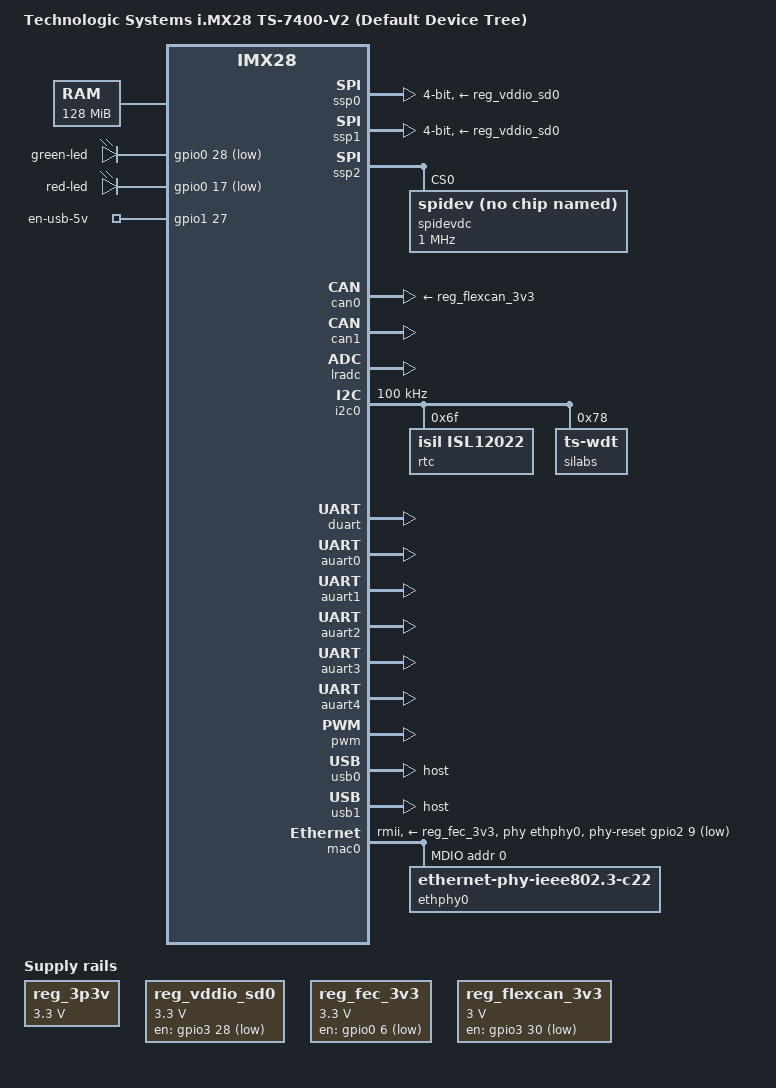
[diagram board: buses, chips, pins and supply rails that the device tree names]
/*
 * Copyright (C) 2018 Technologic Systems <support@embeddedarm.com>
 * Copyright (C) 2012 Marek Vasut <marex@denx.de>
 *
 * The code contained herein is licensed under the GNU General Public
 * License. You may obtain a copy of the GNU General Public License
 * Version 2 or later at the following locations:
 *
 * http://www.opensource.org/licenses/gpl-license.html
 * http://www.gnu.org/copyleft/gpl.html
 */

/dts-v1/;
#include "imx28.dtsi"
#include "dt-bindings/gpio/gpio.h"
#include <dt-bindings/interrupt-controller/irq.h>

/ {

	model = "Technologic Systems i.MX28 TS-7400-V2 (Default Device Tree)";
	compatible = "fsl,imx28-ts7400v2", "fsl,imx28";

	aliases {
		mmc0 = &ssp0;
		mmc2 = &ssp1;
		spi0 = &ssp2;
		i2c0 = &i2c0;
	};

	memory {
		reg = <0x40000000 0x08000000>;   /* 128MB */
	};

	leds {
		pinctrl-names = "default";
		pinctrl-0 = <&pinctrl_gpio_leds>;
		compatible = "gpio-leds";

		green-led {
			label = "green-led";
			gpios = <&gpio0 28 GPIO_ACTIVE_LOW>;
			default-state = "on";
		};

		red-led {
			label = "red-led";
			gpios = <&gpio0 17 GPIO_ACTIVE_LOW>;
			default-state = "off";
		};

		/* The following are meant to be userspace controlled IO. The
		 * kernel does not allow setting default state of GPIO, but
		 * the default state of LEDs can be set, which is why the LED
		 * subsystem is used.
		 */
		en-usb-5v {
			label = "en-usb-5v";
			gpios = <&gpio1 27 GPIO_ACTIVE_HIGH>;
			default-state = "on";
		};
	};


	apb@80000000 {
		apbh@80000000 {

			ssp0: ssp@80010000 {
				compatible = "fsl,imx28-mmc";
				pinctrl-names = "default";
				pinctrl-0 = <&mmc0_4bit_pins
					     &mmc0_sck_cfg /* in DTSI */
					     &en_sd_pwr>;
				broken-cd = <1>;
				bus-width = <4>;
				vmmc-supply = <&reg_vddio_sd0>;
				status = "okay";
			};

			ssp1: ssp@80012000 {
				compatible = "fsl,imx28-mmc";
				pinctrl-names = "default";
				pinctrl-0 = <&mmc1_4bit_pins
					     &mmc1_sck_cfg>; /* in DTSI */
				broken-cd = <1>;
				bus-width = <4>;
				vmmc-supply = <&reg_vddio_sd0>;
				status = "okay";
			};

			ssp2: ssp@80014000 {
				compatible = "fsl,imx28-spi";
				pinctrl-names = "default";
				pinctrl-0 = <&pinctrl_spi0>;
				status = "okay";

				/* NOTE: This is not the intended use of spidev
				 * anymore. Linux is slowly removing support
				 * for directly exposing spidev to userspace
				 * and is requiring drivers to directly connect
				 * to devices via the device tree. This will
				 * generate a warning, and there is still some
				 * basic interaction available, but support for
				 * some ioctls has already been removed it would
				 * appear.
				 */
				spidevdc: spi@0 {
					compatible = "spidev";
					reg = <0>;
					spi-max-frequency = <1000000>;
				};
			};

			pinctrl@80018000 {
				pinctrl-names = "default";
				pinctrl-0 = <&pinctrl_hog>;

				pinctrl_hog: hoggrp {
					reg = <0>;
					fsl,pinmux-ids = <
					>;
					fsl,drive-strength = <MXS_DRIVE_4mA>;
					fsl,voltage = <MXS_VOLTAGE_HIGH>;
					fsl,pull-up = <MXS_PULL_ENABLE>;
				};

				en_sd_pwr: en_sd_pwr {
					reg = <0>;
					fsl,pinmux-ids = <
					  MX28_PAD_PWM3__GPIO_3_28
					>;
					fsl,drive-strength = <MXS_DRIVE_4mA>;
					fsl,voltage = <MXS_VOLTAGE_HIGH>;
					fsl,pull-up = <MXS_PULL_DISABLE>;
				};

				mmc0_4bit_pins: mmc0-4bit@0 {
					reg = <0>;
					fsl,pinmux-ids = <
					  MX28_PAD_SSP0_DATA0__SSP0_D0
					  MX28_PAD_SSP0_DATA1__SSP0_D1
					  MX28_PAD_SSP0_DATA2__SSP0_D2
					  MX28_PAD_SSP0_DATA3__SSP0_D3
					  MX28_PAD_SSP0_CMD__SSP0_CMD
					>;
					fsl,drive-strength = <MXS_DRIVE_8mA>;
					fsl,voltage = <MXS_VOLTAGE_HIGH>;
					fsl,pull-up = <MXS_PULL_ENABLE>;
				};

				mmc1_4bit_pins: mmc1-4bit@0 {
					reg = <0>;
					fsl,pinmux-ids = <
					  MX28_PAD_GPMI_RDY1__SSP1_CMD
					  MX28_PAD_GPMI_D00__SSP1_D0
					  MX28_PAD_GPMI_D01__SSP1_D1
					  MX28_PAD_GPMI_D02__SSP1_D2
					  MX28_PAD_GPMI_D03__SSP1_D3
					>;
					fsl,drive-strength = <MXS_DRIVE_8mA>;
					fsl,voltage = <MXS_VOLTAGE_HIGH>;
					fsl,pull-up = <MXS_PULL_ENABLE>;
				};

				mac0_pins_ts7400v2: mac0@0 {
					reg = <0>;
					fsl,pinmux-ids = <
					   MX28_PAD_ENET0_MDC__ENET0_MDC
					   MX28_PAD_ENET0_MDIO__ENET0_MDIO
					   MX28_PAD_ENET0_RX_EN__ENET0_RX_EN
					   MX28_PAD_ENET0_RXD0__ENET0_RXD0
					   MX28_PAD_ENET0_RXD1__ENET0_RXD1
					   MX28_PAD_ENET0_TX_EN__ENET0_TX_EN
					   MX28_PAD_ENET0_TXD0__ENET0_TXD0
					   MX28_PAD_ENET0_TXD1__ENET0_TXD1
					   MX28_PAD_ENET_CLK__CLKCTRL_ENET
					   /* PHY reset */
					   MX28_PAD_SSP0_DETECT__GPIO_2_9
					   /* PHY power */
					   MX28_PAD_GPMI_D06__GPIO_0_6
					>;
					fsl,drive-strength = <MXS_DRIVE_8mA>;
					fsl,voltage = <MXS_VOLTAGE_HIGH>;
					fsl,pull-up = <MXS_PULL_ENABLE>;
				};

				auart4_2pins: auart4@0 {
					reg = <0>;
					fsl,pinmux-ids = <
					  MX28_PAD_SAIF0_BITCLK__AUART4_RX
					  MX28_PAD_SAIF0_SDATA0__AUART4_TX
					>;
					fsl,drive-strength = <MXS_DRIVE_4mA>;
					fsl,voltage = <MXS_VOLTAGE_HIGH>;
					fsl,pull-up = <MXS_PULL_DISABLE>;
				};

				pinctrl_spi0: spi@0 {
					reg = <0>;
					fsl,pinmux-ids = <
					  MX28_PAD_SSP0_DATA4__SSP2_D0
					  MX28_PAD_SSP0_DATA5__SSP2_D3
					  MX28_PAD_SSP0_DATA6__SSP2_CMD
					  MX28_PAD_SSP0_DATA7__SSP2_SCK
					>;
					fsl,drive-strength = <MXS_DRIVE_8mA>;
					fsl,voltage = <MXS_VOLTAGE_HIGH>;
					fsl,pull-up = <MXS_PULL_ENABLE>;
				};

				pinctrl_flexcan_3v3: en-can@0 {
					reg = <0>;
					fsl,pinmux-ids = <
					  MX28_PAD_LCD_RESET__GPIO_3_30
					>;
					fsl,drive-strength = <MXS_DRIVE_4mA>;
					fsl,voltage = <MXS_VOLTAGE_HIGH>;
					fsl,pull-up = <MXS_PULL_ENABLE>;
				};

				pinctrl_gpio_leds: gpio-led@0 {
					reg = <0>;
					fsl,pinmux-ids = <
					  MX28_PAD_GPMI_CE1N__GPIO_0_17
					  MX28_PAD_GPMI_RESETN__GPIO_0_28
					  //USB 5V EN
					  MX28_PAD_LCD_CS__GPIO_1_27
					>;
					fsl,drive-strength = <MXS_DRIVE_12mA>;
					fsl,voltage = <MXS_VOLTAGE_HIGH>;
					fsl,pull-up = <MXS_PULL_DISABLE>;
				};
			};

			can0: can@80032000 {
				pinctrl-names = "default";
				pinctrl-0 = <&can0_pins_a>;
				xceiver-supply = <&reg_flexcan_3v3>;
				status = "okay";
			};

			can1: can@80034000 {
				pinctrl-names = "default";
				pinctrl-0 = <&can1_pins_a>;
				/* CAN1 does not have external connection to
				 * EN_CAN#
				 */
				status = "okay";
			};

		};

		apbx@80040000 {
			saif0: saif@80042000 {
				pinctrl-names = "default";
				pinctrl-0 = <&saif0_pins_a>;
				status = "disabled";
			};

			saif1: saif@80046000 {
				pinctrl-names = "default";
				pinctrl-0 = <&saif1_pins_a>;
				fsl,saif-master = <&saif0>;
				status = "disabled";
			};

			lradc: lradc@80050000 {
				status = "okay";
			};

			i2c0: i2c@80058000 {
				pinctrl-names = "default";
				pinctrl-0 = <&i2c0_pins_a>;
				clock-frequency = <100000>;
				status = "okay";

				rtc: isl12022@6f {
					compatible = "isil,isl12022";
					reg = <0x6f>;
				};

				silabs: silabs@78 {
					compatible = "ts-wdt";
					reg = <0x78>;
				};
			};

			duart: serial@80074000 {
				pinctrl-names = "default";
				pinctrl-0 = <&duart_pins_a>;
				status = "okay";
			};

			usbphy0: usbphy@8007c000 {
				phy-3p0-supply = <&reg_usbphy_vbus>;
				status = "okay";

			};

			usbphy1: usbphy@8007e000 {
				phy-3p0-supply = <&reg_usbphy_vbus>;
				status = "okay";
			};

			auart0: serial@8006a000 {
				pinctrl-names = "default";
				pinctrl-0 = <&auart0_2pins_a>;
				status = "okay";
			};

			auart1: serial@8006c000 {
				pinctrl-names = "default";
				pinctrl-0 = <&auart1_2pins_a>;
				status = "okay";
			};

			auart2: serial@8006e000 {
				pinctrl-names = "default";
				pinctrl-0 = <&auart2_2pins_a>;
				status = "okay";
			};

			auart3: serial@80070000 {
				pinctrl-names = "default";
				pinctrl-0 = <&auart3_2pins_a>;
				status = "okay";
			};

			auart4: serial@80072000 {
				pinctrl-names = "default";
				pinctrl-0 = <&auart4_2pins>;
				status = "okay";
			};

			pwm: pwm@80064000 {
				pinctrl-names = "default";
				pinctrl-0 = <&pwm2_pins_a>;
				status = "okay";
			};
		};
	};

	ahb@80080000 {
		usb0: usb@80080000 {
			disable-over-current;
			dr_mode = "host";
			status = "okay";
		};

		usb1: usb@80090000 {
			disable-over-current;
			dr_mode = "host";
			status = "okay";
		};

		mac0: ethernet@800f0000 {
			phy-mode = "rmii";
			pinctrl-names = "default";
			pinctrl-0 = <&mac0_pins_ts7400v2>;
			phy-supply = <&reg_fec_3v3>;
			phy-reset-gpios = <&gpio2 9 GPIO_ACTIVE_LOW>;
			/* PHY reset hold is 100 us, however, power enable to
			 * first unreset is 25 ms minimum. Increase every reset
			 * to accommodate this power-on situation.
			 */
			phy-reset-duration = <26>;
			phy-handle = <&ethphy0>;
			status = "okay";

			mdio {
				#address-cells = <1>;
				#size-cells = <0>;

				ethphy0: ethernet-phy@0 {
				  compatible = "ethernet-phy-ieee802.3-c22";
				  reg = <0>;
				};
			};
		};
	};

	regulators {
		compatible = "simple-bus";

		reg_3p3v: 3p3v {
			compatible = "regulator-fixed";
			regulator-name = "3P3V";
			regulator-min-microvolt = <3300000>;
			regulator-max-microvolt = <3300000>;
			regulator-always-on;
		};

		reg_vddio_sd0: vddio-sd0 {
			compatible = "regulator-fixed";
			regulator-name = "sd_vmmc";
			regulator-min-microvolt = <3300000>;
			regulator-max-microvolt = <3300000>;
			regulator-boot-on;
			gpio = <&gpio3 28 GPIO_ACTIVE_LOW>;
		};

		reg_usbphy_vbus: usbphy_vbus {
			compatible = "regulator-dummy";
			regulator-name = "usbphy_vbus_dummy";
			regulator-always-on;
		};


		reg_fec_3v3: enet_vbus {
			compatible = "regulator-fixed";
			regulator-name = "enet_vbus";
			regulator-min-microvolt = <3300000>;
			regulator-max-microvolt = <3300000>;
			gpio = <&gpio0 6 GPIO_ACTIVE_LOW>;
		};

		reg_flexcan_3v3: en-can@0 {
			compatible = "regulator-fixed";
			regulator-name = "en-can";
			regulator-min-microvolt = <3000000>;
			regulator-max-microvolt = <3000000>;
			gpio = <&gpio3 30 GPIO_ACTIVE_LOW>;
		};
	};
};


